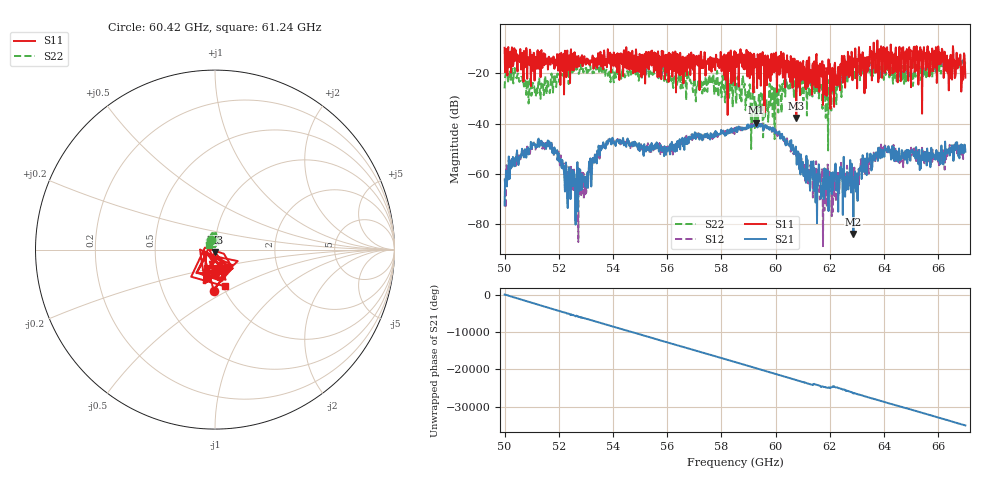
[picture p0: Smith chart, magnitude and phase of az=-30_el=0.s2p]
!Created with skrf (http://scikit-rf.org).
# GHz S RI R 50.0
!freq ReS11 ImS11 ReS21 ImS21 ReS12 ImS12 ReS22 ImS22
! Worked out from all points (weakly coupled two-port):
!   1001 points, 50 GHz to 67 GHz, reference 50 ohm
!   highest |S21| = -39.58 dB at 59.27 GHz (marker M1); lowest = -83.8 dB at 62.87 GHz (marker M2)
!   lowest |S11| = -37.7 dB at 60.76 GHz (marker M3), VSWR 1.03, Z = 49.8 - j1.29 ohm
!   |S11| at or under -10 dB: 50.8 GHz to 54.49 GHz (3.686 GHz wide, 7 % of centre); 54.49 GHz to 63.07 GHz (8.582 GHz wide, 14.6 % of centre); 66 GHz to 66.54 GHz (533.7 MHz wide, 0.805 % of centre) (the widest 3 of 28)
!   |S22| runs from -50.6 to -14.1 dB; largest |S21 - S12| = 0.002
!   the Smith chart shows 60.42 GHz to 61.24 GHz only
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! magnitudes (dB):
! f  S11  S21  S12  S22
! 50 GHz  -9.8  -72.4  -61.8  -25.9
! 50.24 GHz  -19.7  -57.8  -57.1  -22.0
! 51.27 GHz  -14.1  -49.2  -48.3  -22.0
! 51.92 GHz  -16.5  -51.4  -50.9  -23.0
! 52.28 GHz  -21.5  -57.4  -56.7  -19.9
! 52.84 GHz  -13.4  -66.4  -66.4  -19.0
! 53.84 GHz  -15.6  -47.1  -46.9  -18.6
! 55.68 GHz  -13.5  -49.7  -48.9  -21.9
! 58.5 GHz  -24.7  -42.9  -41.7  -24.8
! 59.27 GHz  -17.5  -39.6  -39.9  -30.8
! 60.76 GHz  -37.7  -51.7  -52.8  -27.7
! 61.34 GHz  -28.5  -58.3  -56.5  -26.3
! 62 GHz  -16.2  -61.3  -65.9  -24.8
! 62.19 GHz  -15.7  -57.4  -59.9  -21.8
! 62.87 GHz  -17.5  -83.8  -65.5  -18.7
! 63.29 GHz  -14.9  -53.8  -54.5  -18.1
! 63.69 GHz  -19.7  -52.5  -53.6  -16.7
! 64.18 GHz  -19.3  -50.5  -50.5  -18.6
! 66.08 GHz  -16.3  -56.1  -53.8  -15.7
! 66.42 GHz  -16.1  -52.7  -48.4  -16.4
! 66.75 GHz  -15.9  -53.0  -49.6  -18.2
! 67 GHz  -21.7  -51.1  -51.0  -15.6
